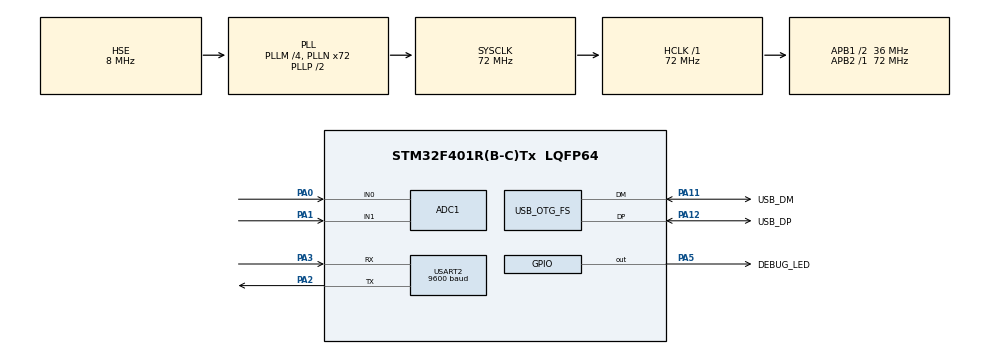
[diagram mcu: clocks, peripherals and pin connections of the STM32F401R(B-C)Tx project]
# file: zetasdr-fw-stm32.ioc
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ADC1.Channel-6\#ChannelRegularConversion=ADC_CHANNEL_0
ADC1.Channel-9\#ChannelInjectedConversion=ADC_CHANNEL_1
ADC1.DataAlign=ADC_DATAALIGN_LEFT
ADC1.EOCSelection=ADC_EOC_SEQ_CONV
ADC1.ExternalTrigConv=ADC_EXTERNALTRIGCONV_T2_TRGO
ADC1.ExternalTrigInjecConv=ADC_EXTERNALTRIGINJECCONV_T2_CC1
ADC1.InjNumberOfConversion=1
ADC1.InjectedOffset-9\#ChannelInjectedConversion=0
ADC1.InjectedRank-9\#ChannelInjectedConversion=1
ADC1.NbrOfConversion=1
ADC1.NbrOfConversionFlag=1
ADC1.Rank-6\#ChannelRegularConversion=1
ADC1.SamplingTime-6\#ChannelRegularConversion=ADC_SAMPLETIME_15CYCLES
ADC1.SamplingTime-9\#ChannelInjectedConversion=ADC_SAMPLETIME_15CYCLES
ADC1.master=1
Mcu.Family=STM32F4
Mcu.Name=STM32F401R(B-C)Tx
Mcu.Package=LQFP64
NVIC.ADC_IRQn=true\:0\:0\:false\:false\:true\:true\:true\:true
NVIC.OTG_FS_IRQn=true\:0\:0\:false\:false\:false\:true\:true\:true
NVIC.PriorityGroup=NVIC_PRIORITYGROUP_4
PA0-WKUP.Signal=ADCx_IN0
PA1.Signal=ADCx_IN1
PA11.GPIO_Label=USB_DM
PA11.Mode=Device_Only
PA11.Signal=USB_OTG_FS_DM
PA12.GPIO_Label=USB_DP
PA12.Mode=Device_Only
PA12.Signal=USB_OTG_FS_DP
PA13.GPIO_Label=SWDIO
PA13.Mode=Serial_Wire
PA13.Signal=SYS_JTMS-SWDIO
PA14.GPIO_Label=SWCLK
PA14.Mode=Serial_Wire
PA14.Signal=SYS_JTCK-SWCLK
PA2.Mode=Asynchronous
PA2.Signal=USART2_TX
PA3.Mode=Asynchronous
PA3.Signal=USART2_RX
PA5.GPIO_Label=DEBUG_LED
PA5.Signal=GPIO_Output
PH0\ -\ OSC_IN.Mode=HSE-External-Clock-Source
PH0\ -\ OSC_IN.Signal=RCC_OSC_IN
PH1\ -\ OSC_OUT.Mode=HSE-External-Clock-Source
PH1\ -\ OSC_OUT.Signal=RCC_OSC_OUT
ProjectManager.HeapSize=0x200
ProjectManager.StackSize=0x400
ProjectManager.TargetToolchain=STM32CubeIDE
RCC.48MHZClocksFreq_Value=48000000
RCC.AHBFreq_Value=72000000
RCC.APB1CLKDivider=RCC_HCLK_DIV2
RCC.APB1Freq_Value=36000000
RCC.APB1TimFreq_Value=72000000
RCC.APB2Freq_Value=72000000
RCC.APB2TimFreq_Value=72000000
RCC.CortexFreq_Value=72000000
RCC.HCLKFreq_Value=72000000
RCC.HSE_VALUE=8000000
RCC.HSI_VALUE=16000000
RCC.LSE_VALUE=32768
RCC.PLLM=4
RCC.PLLN=72
RCC.PLLQ=3
RCC.SYSCLKFreq_VALUE=72000000
RCC.SYSCLKSource=RCC_SYSCLKSOURCE_PLLCLK
RCC.VCOOutputFreq_Value=144000000
SH.ADCx_IN0.0=ADC1_IN0,IN0
SH.ADCx_IN1.0=ADC1_IN1,IN1
TIM2.AutoReloadPreload=TIM_AUTORELOAD_PRELOAD_ENABLE
TIM2.Channel-PWM\ Generation1\ No\ Output=TIM_CHANNEL_1
TIM2.CounterMode=TIM_COUNTERMODE_DOWN
TIM2.OC1Preload_PWM=DISABLE
TIM2.Period=375-1
TIM2.Pulse-PWM\ Generation1\ No\ Output=187
TIM2.TIM_MasterOutputTrigger=TIM_TRGO_UPDATE
USART2.BaudRate=9600
USART2.VirtualMode=VM_ASYNC
USB_OTG_FS.VirtualMode=Device_Only
USB_OTG_FS.lpm_enable=DISABLE
VP_TIM2_VS_ClockSourceINT.Mode=Internal
VP_TIM2_VS_no_output1.Mode=PWM Generation1 No Output
board=custom

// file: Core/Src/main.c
/* USER CODE BEGIN Header */
/**
  ******************************************************************************
  * @file           : main.c
  * @brief          : Main program body
  ******************************************************************************
  * @attention
  *
  * Copyright (c) 2024 STMicroelectronics.
  * All rights reserved.
  *
  * This software is licensed under terms that can be found in the LICENSE file
  * in the root directory of this software component.
  * If no LICENSE file comes with this software, it is provided AS-IS.
  *
  ******************************************************************************
  */
/* USER CODE END Header */
#include "main.h"
#include "adc.h"
#include "tim.h"
#include "usart.h"
#include "usb_otg.h"
#include "gpio.h"

/* USER CODE BEGIN Includes */
#include "tusb.h"
#include "tusb_config.h"
#include "cdc.h"
#include "audio.h"
/* USER CODE END Includes */

/* USER CODE BEGIN PTD */
/* Blink pattern
 * - 250 ms  : device not mounted
 * - 100 ms  : device mounted
 * - 1000 ms : device is suspended
 */
enum {
  BLINK_NOT_MOUNTED = 250,
  BLINK_MOUNTED = 100,
  BLINK_SUSPENDED = 1000
};
/* USER CODE END PTD */

/* USER CODE BEGIN PV */

static uint32_t blink_interval_ms = BLINK_NOT_MOUNTED;

/* USER CODE END PV */

void SystemClock_Config(void);
/* USER CODE BEGIN PFP */
void led_blinking_task(void);
void audio_task(void);
/* USER CODE END PFP */

/* USER CODE BEGIN 0 */

//--------------------------------------------------------------------+
// Device callbacks
//--------------------------------------------------------------------+

// Invoked when device is mounted
void tud_mount_cb(void)
{
  blink_interval_ms = BLINK_MOUNTED;
}

// Invoked when device is unmounted
void tud_umount_cb(void)
{
  blink_interval_ms = BLINK_NOT_MOUNTED;
}

// Invoked when usb bus is suspended
void tud_suspend_cb(bool remote_wakeup_en)
{
  (void) remote_wakeup_en;
  blink_interval_ms = BLINK_SUSPENDED;
}

// Invoked when usb bus is resumed
void tud_resume_cb(void)
{
  blink_interval_ms = tud_mounted() ? BLINK_MOUNTED : BLINK_NOT_MOUNTED;
}

//--------------------------------------------------------------------+
// BLINKING TASK
//--------------------------------------------------------------------+
void led_blinking_task(void)
{
  static uint32_t start_ms = 0;
  static bool led_state = false;

  // Blink every interval ms
  if ( HAL_GetTick() - start_ms < blink_interval_ms) return; // not enough time
  start_ms += blink_interval_ms;

  HAL_GPIO_WritePin(DEBUG_LED_GPIO_Port, DEBUG_LED_Pin, led_state);
  led_state = 1 - led_state; // toggle
}

/* USER CODE END 0 */

int main(void)
{

  /* MCU Configuration--------------------------------------------------------*/

  /* Reset of all peripherals, Initializes the Flash interface and the Systick. */
  HAL_Init();

  /* Configure the system clock */
  SystemClock_Config();

  /* Initialize all configured peripherals */
  MX_GPIO_Init();
  MX_ADC1_Init();
  MX_TIM2_Init();
  MX_USART2_UART_Init();
  MX_USB_OTG_FS_PCD_Init();
  /* USER CODE BEGIN 2 */

  // init device stack on configured roothub port
  tusb_rhport_init_t dev_init = {
    .role = TUSB_ROLE_DEVICE,
    .speed = TUSB_SPEED_AUTO
  };
  tusb_init(BOARD_TUD_RHPORT, &dev_init);

  audio_init();

  /* Single ADC ued for sampling IN0 and IN1 channels
    IN0 sampled in regular mode @ Timer2 update event (overflow)
    IN1 sampled in injected mode @ Timer2 compare event (half of every period, compare value = 187) <- modify in CubeMX to change phase shift between the two channels
    f_TIM = 72MHz, prescale = 0, period = 375-1 (to match fs = 192kHz)
  */
  HAL_ADCEx_InjectedStart_IT(&hadc1);
  HAL_ADC_Start_IT(&hadc1);
  HAL_TIM_Base_Start(&htim2);
  HAL_TIM_PWM_Start(&htim2, TIM_CHANNEL_1);

  /* USER CODE END 2 */

  /* Infinite loop */
  while (1)
  {

    /* USER CODE BEGIN 3 */
    tud_task(); // tinyusb device task
    led_blinking_task();
    audio_task();
    cdc_task(); // virtual serial port
  }
  /* USER CODE END 3 */
}

void SystemClock_Config(void)
{
  RCC_OscInitTypeDef RCC_OscInitStruct = {0};
  RCC_ClkInitTypeDef RCC_ClkInitStruct = {0};

  /** Configure the main internal regulator output voltage
  */
  __HAL_RCC_PWR_CLK_ENABLE();
  __HAL_PWR_VOLTAGESCALING_CONFIG(PWR_REGULATOR_VOLTAGE_SCALE2);

  /** Initializes the RCC Oscillators according to the specified parameters
  * in the RCC_OscInitTypeDef structure.
  */
  RCC_OscInitStruct.OscillatorType = RCC_OSCILLATORTYPE_HSE;
  RCC_OscInitStruct.HSEState = RCC_HSE_BYPASS;
  RCC_OscInitStruct.PLL.PLLState = RCC_PLL_ON;
  RCC_OscInitStruct.PLL.PLLSource = RCC_PLLSOURCE_HSE;
  RCC_OscInitStruct.PLL.PLLM = 4;
  RCC_OscInitStruct.PLL.PLLN = 72;
  RCC_OscInitStruct.PLL.PLLP = RCC_PLLP_DIV2;
  RCC_OscInitStruct.PLL.PLLQ = 3;
  if (HAL_RCC_OscConfig(&RCC_OscInitStruct) != HAL_OK)
  {
    Error_Handler();
  }

  /** Initializes the CPU, AHB and APB buses clocks
  */
  RCC_ClkInitStruct.ClockType = RCC_CLOCKTYPE_HCLK|RCC_CLOCKTYPE_SYSCLK
                              |RCC_CLOCKTYPE_PCLK1|RCC_CLOCKTYPE_PCLK2;
  RCC_ClkInitStruct.SYSCLKSource = RCC_SYSCLKSOURCE_PLLCLK;
  RCC_ClkInitStruct.AHBCLKDivider = RCC_SYSCLK_DIV1;
  RCC_ClkInitStruct.APB1CLKDivider = RCC_HCLK_DIV2;
  RCC_ClkInitStruct.APB2CLKDivider = RCC_HCLK_DIV1;

  if (HAL_RCC_ClockConfig(&RCC_ClkInitStruct, FLASH_LATENCY_2) != HAL_OK)
  {
    Error_Handler();
  }
}

/* USER CODE BEGIN 4 */
int __io_putchar(int ch)
{
  HAL_UART_Transmit(&huart2, (uint8_t *)&ch, 1, 0xFFFF);
  return ch;
}
/* USER CODE END 4 */

void Error_Handler(void)
{
  __disable_irq();
  while (1)
  {
  }
}
